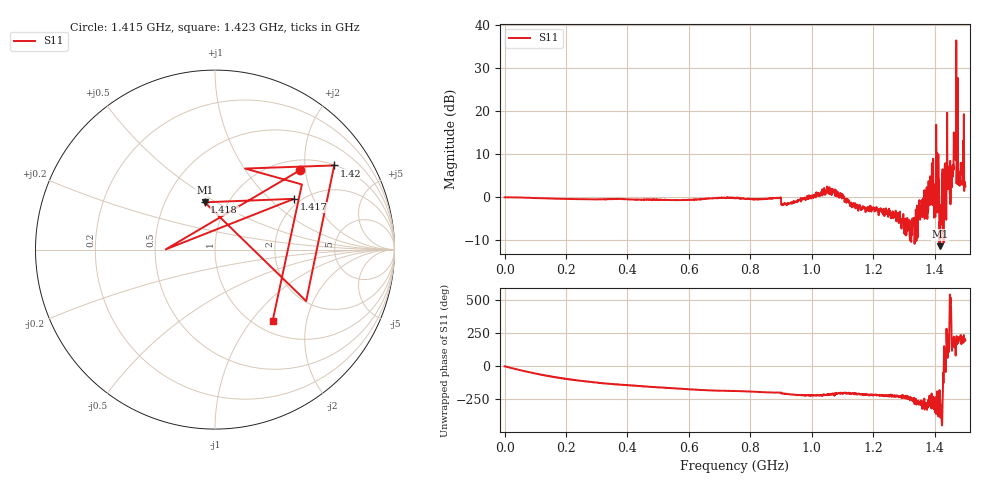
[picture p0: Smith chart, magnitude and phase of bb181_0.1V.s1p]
# Hz S RI R 50
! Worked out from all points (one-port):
!   1515 points, 50 kHz to 1.5 GHz, reference 50 ohm
!   lowest |S11| = -11.4 dB at 1.418 GHz (marker M1), VSWR 1.74, Z = 39 + j22.2 ohm
!   |S11| at or under -10 dB: 1.319684 GHz to 1.320772 GHz (1.088 MHz wide, 0.0824 % of centre); 1.323292 GHz to 1.323766 GHz (474.1 kHz wide, 0.0358 % of centre); 1.428479 GHz to 1.429719 GHz (1.24 MHz wide, 0.0868 % of centre) (the widest 3 of 7)
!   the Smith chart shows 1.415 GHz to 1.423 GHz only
!   S11 on the Smith chart (normalised r, x): 1.415 GHz: 1.23, +1.86; 1.417 GHz: 1.85, +1.44; 1.418 GHz: 0.78, +0.44; 1.42 GHz: 1.02, +2.82; 1.423 GHz: 1.19, -1.29
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50000  0.9993 0.000429
1.882866e8  -0.0144 -0.9576
3.755325e8  -0.7188 -0.633
5.627784e8  -0.9089 -0.1778
7.500243e8  -0.9693 0.1402
9.382609e8  -0.7048 0.484
1.125507e9  -0.7189 0.4381
1.312753e9  -0.2727 0.3075
1.401917e9  -0.3408 0.4828
1.414797e9  0.4719 0.4413
1.416778e9  0.4406 0.2829
1.417769e9  -0.0574 0.2636
1.41975e9  0.6642 0.4689
1.422722e9  0.3205 -0.4
1.43263e9  -1.599 1.626
1.434611e9  1.424 1.269
1.442537e9  0.5435 1.119
1.449472e9  -1.091 -0.0902
1.461361e9  -1.78 -1.071
1.462351e9  -4.02 -4.037
1.463342e9  -2.861 1.989
1.467305e9  -2.833 -0.4503
1.468296e9  0.3845 2.73
1.477212e9  -1.403 -0.0359
1.478203e9  -1.471 -1.306
1.482166e9  -1.88 -0.6157
1.483156e9  -1.629 -0.9337
1.499999e9  -1.281 -0.3968
